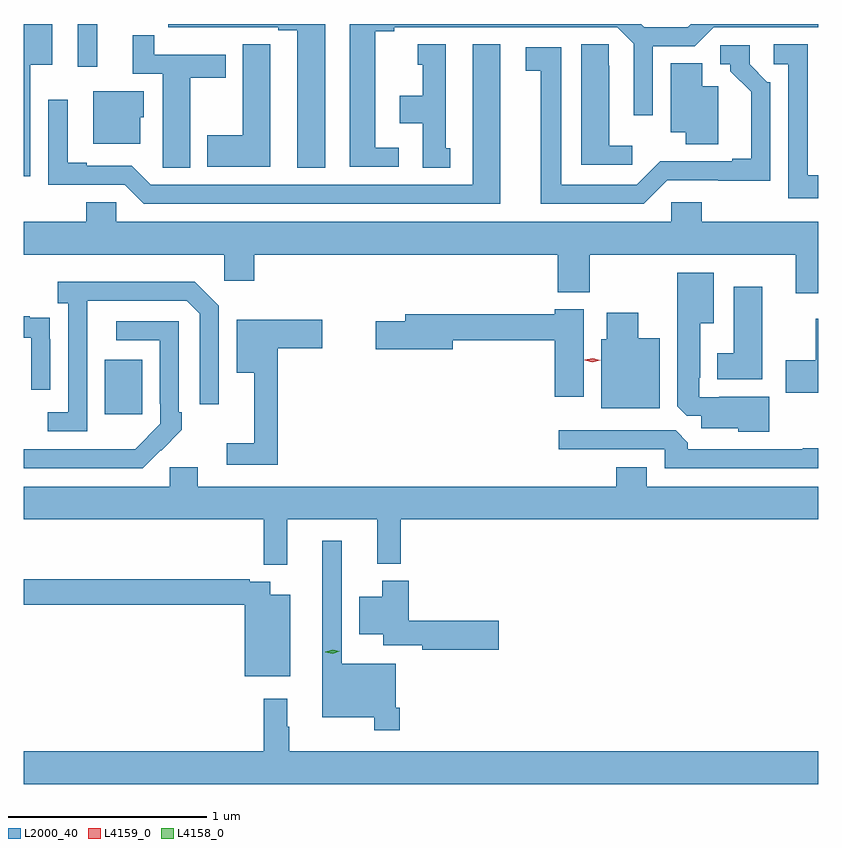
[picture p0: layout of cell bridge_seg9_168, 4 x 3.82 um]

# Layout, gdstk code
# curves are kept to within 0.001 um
import gdstk
lib = gdstk.Library(unit=1e-6, precision=1e-09)
def R(c, l, rs):  # rectangles x0, y0, x1, y1
    for r in rs: c.add(gdstk.rectangle(r[:2], r[2:], *l))
def P(c, l, *ps):  # polygons
    for p in ps: c.add(gdstk.Polygon(p, *l))
L2000_40 = (2000, 40)
L4158_0 = (4158, 0)
L4159_0 = (4159, 0)

bridge_seg9_168 = lib.new_cell('bridge_seg9_168')
R(bridge_seg9_168, L2000_40, [(220.583,1240.905,220.771,1241.179), (220.446,1242.654,220.544,1242.868)])
P(bridge_seg9_168, L2000_40, [(220.209,1242.662),(220.318,1242.662),(220.318,1242.868),(220.174,1242.868),(220.174,1242.102),(220.209,1242.102)],
  [(222.061,1242.246),(221.944,1242.246),(221.944,1242.832),(222.04,1242.832),(222.04,1242.852),(223.161,1242.852),(223.245,1242.768),(223.245,1242.408),(223.341,1242.408),(223.341,1242.756),(223.551,1242.756),(223.647,1242.852),(224.174,1242.852),(224.174,1242.868),(223.531,1242.868),(223.515,1242.852),(223.297,1242.852),(223.281,1242.868),(221.816,1242.868),(221.816,1242.15),(222.061,1242.15)],
  [(221.692,1242.868),(220.902,1242.868),(220.902,1242.852),(221.014,1242.852),(221.014,1242.851),(221.18,1242.851),(221.18,1242.852),(221.456,1242.852),(221.456,1242.837),(221.552,1242.837),(221.552,1242.145),(221.692,1242.145)],
  [(221.014,1242.598),(221.191,1242.598),(221.191,1242.714),(220.832,1242.714),(220.832,1242.811),(220.724,1242.811),(220.724,1242.618),(220.874,1242.618),(220.874,1242.256),(220.875,1242.256),(220.875,1242.145),(221.014,1242.145)],
  [(224.174,1242.107),(224.119,1242.107),(224.119,1242.767),(223.95,1242.767),(223.95,1242.666),(224.022,1242.666),(224.022,1241.991),(224.174,1241.991)],
  [(221.416,1242.659),(221.415,1242.659),(221.415,1242.767),(221.276,1242.767),(221.276,1242.309),(221.099,1242.309),(221.099,1242.149),(221.416,1242.149)],
  [(223.237,1242.256),(223.12,1242.256),(223.12,1242.659),(223.119,1242.659),(223.119,1242.767),(222.98,1242.767),(222.98,1242.159),(223.237,1242.159)],
  [(222.322,1242.243),(222.298,1242.243),(222.298,1242.766),(222.158,1242.766),(222.158,1242.663),(222.182,1242.663),(222.182,1242.508),(222.068,1242.508),(222.068,1242.368),(222.182,1242.368),(222.182,1242.145),(222.322,1242.145)],
  [(222.574,1242.766),(222.434,1242.766),(222.434,1242.06),(220.815,1242.06),(220.719,1242.156),(220.492,1242.156),(220.492,1242.169),(220.396,1242.169),(220.396,1242.487),(220.299,1242.487),(220.299,1242.06),(220.683,1242.06),(220.779,1241.964),(222.574,1241.964)],
  [(223.413,1242.081),(223.932,1242.08),(223.932,1242.576),(223.917,1242.576),(223.827,1242.666),(223.827,1242.762),(223.68,1242.762),(223.68,1242.666),(223.73,1242.666),(223.73,1242.631),(223.835,1242.526),(223.835,1242.19),(223.739,1242.19),(223.739,1242.177),(223.378,1242.178),(223.26,1242.06),(222.88,1242.06),(222.88,1242.75),(222.702,1242.75),(222.702,1242.634),(222.776,1242.634),(222.776,1241.964),(223.296,1241.964)],
  [(223.669,1242.556),(223.588,1242.556),(223.588,1242.671),(223.43,1242.671),(223.43,1242.323),(223.505,1242.323),(223.505,1242.262),(223.669,1242.262)],
  [(220.762,1242.399),(220.78,1242.399),(220.78,1242.529),(220.526,1242.529),(220.526,1242.266),(220.762,1242.266)],
  [(224.174,1241.872),(223.586,1241.872),(223.586,1241.97),(223.434,1241.97),(223.434,1241.872),(220.641,1241.872),(220.641,1241.97),(220.49,1241.97),(220.49,1241.872),(220.174,1241.872),(220.174,1241.708),(221.184,1241.708),(221.184,1241.577),(221.336,1241.577),(221.336,1241.708),(222.863,1241.708),(222.863,1241.519),(223.023,1241.519),(223.023,1241.708),(224.06,1241.708),(224.06,1241.514),(224.174,1241.514)],
  [(223.927,1240.993),(223.675,1240.993),(223.675,1240.989),(223.575,1240.989),(223.575,1241.089),(223.579,1241.089),(223.579,1241.363),(223.648,1241.363),(223.648,1241.617),(223.463,1241.617),(223.463,1240.945),(223.512,1240.896),(223.583,1240.896),(223.583,1240.835),(223.77,1240.835),(223.77,1240.817),(223.927,1240.817)],
  [(220.494,1241.275),(220.495,1241.475),(220.995,1241.475),(221.061,1241.409),(221.061,1240.956),(221.157,1240.956),(221.157,1241.451),(221.036,1241.572),(220.347,1241.572),(220.347,1241.462),(220.398,1241.462),(220.398,1240.914),(220.296,1240.914),(220.296,1240.818),(220.494,1240.818)],
  [(223.891,1241.545),(223.748,1241.545),(223.748,1241.212),(223.664,1241.212),(223.664,1241.081),(223.891,1241.081)],
  [(222.994,1241.434),(222.848,1241.434),(222.848,1241.407),(222.095,1241.407),(222.095,1241.373),(221.946,1241.373),(221.946,1241.231),(222.334,1241.231),(222.334,1241.278),(222.848,1241.278),(222.848,1240.992),(222.994,1240.992)],
  [(223.375,1241.287),(223.267,1241.287),(223.267,1241.416),(223.109,1241.416),(223.109,1241.283),(223.082,1241.283),(223.082,1240.934),(223.375,1240.934)],
  [(220.308,1241.282),(220.307,1241.282),(220.307,1241.391),(220.205,1241.391),(220.205,1241.398),(220.174,1241.398),(220.174,1241.289),(220.212,1241.289),(220.212,1241.028),(220.308,1241.028)],
  [(224.174,1241.386),(224.159,1241.386),(224.159,1241.175),(224.01,1241.175),(224.01,1241.012),(224.174,1241.012)],
  [(221.453,1241.237),(221.677,1241.237),(221.677,1241.379),(221.246,1241.379),(221.246,1241.114),(221.336,1241.114),(221.336,1240.759),(221.196,1240.759),(221.196,1240.65),(221.453,1240.65)],
  [(220.865,1240.723),(220.866,1240.722),(220.971,1240.827),(220.971,1240.915),(220.956,1240.915),(220.956,1241.373),(220.641,1241.373),(220.641,1241.277),(220.86,1241.277),(220.86,1240.957),(220.863,1240.957),(220.863,1240.857),(220.735,1240.729),(220.174,1240.728),(220.174,1240.632),(220.774,1240.632)],
  [(224.174,1240.733),(224.096,1240.733),(224.096,1240.728),(223.517,1240.728),(223.517,1240.762),(223.455,1240.824),(222.867,1240.824),(222.867,1240.728),(223.401,1240.728),(223.401,1240.632),(224.174,1240.632)],
  [(221.501,1240.376),(221.954,1240.376),(221.954,1240.151),(222.071,1240.151),(222.071,1240.376),(224.174,1240.376),(224.174,1240.54),(223.309,1240.54),(223.309,1240.639),(223.157,1240.639),(223.157,1240.54),(221.05,1240.54),(221.05,1240.638),(220.911,1240.638),(220.911,1240.54),(220.174,1240.54),(220.174,1240.376),(221.383,1240.376),(221.383,1240.147),(221.501,1240.147)],
  [(222.068,1239.427),(222.048,1239.427),(222.048,1239.649),(221.775,1239.649),(221.775,1240.267),(221.678,1240.267),(221.678,1239.38),(221.94,1239.38),(221.94,1239.315),(222.068,1239.315)],
  [(221.515,1239.997),(221.416,1239.997),(221.416,1240.062),(221.312,1240.062),(221.312,1240.075),(220.174,1240.075),(220.174,1239.946),(221.288,1239.946),(221.288,1239.587),(221.515,1239.587)],
  [(222.565,1239.866),(222.113,1239.866),(222.113,1240.066),(221.978,1240.066),(221.978,1239.985),(221.864,1239.985),(221.864,1239.797),(221.984,1239.797),(221.984,1239.743),(222.18,1239.743),(222.18,1239.719),(222.565,1239.719)],
  [(224.174,1239.208),(221.512,1239.208),(221.512,1239.332),(221.5,1239.332),(221.5,1239.472),(221.383,1239.472),(221.383,1239.208),(220.174,1239.208),(220.174,1239.044),(224.174,1239.044)])
P(bridge_seg9_168, L4158_0, [(221.729,1239.7),(221.693,1239.708),(221.693,1239.708),(221.693,1239.709),(221.729,1239.72),(221.765,1239.711),(221.765,1239.711),(221.765,1239.711)])
P(bridge_seg9_168, L4159_0, [(223.036,1241.167),(222.998,1241.177),(222.998,1241.178),(222.998,1241.178),(223.037,1241.187),(223.075,1241.176),(223.075,1241.176),(223.075,1241.176)])

lib.write_gds('bridge_seg9_168.gds')
